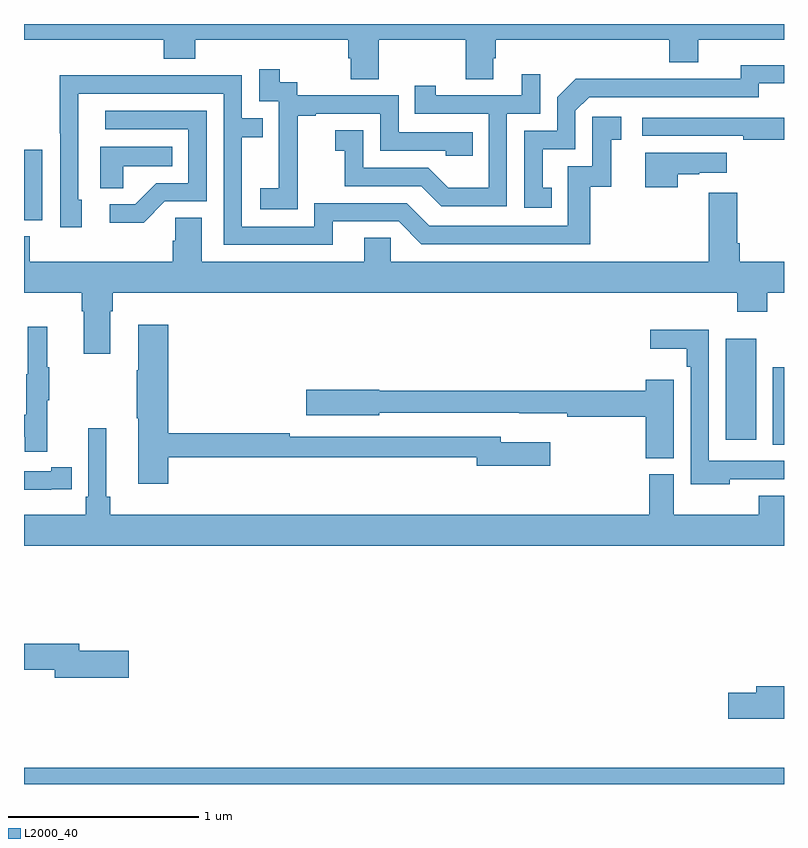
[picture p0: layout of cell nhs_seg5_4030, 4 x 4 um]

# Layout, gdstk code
import gdstk
lib = gdstk.Library(unit=1e-6, precision=1e-09)
def R(c, l, rs):  # rectangles x0, y0, x1, y1
    for r in rs: c.add(gdstk.rectangle(r[:2], r[2:], *l))
def P(c, l, *ps):  # polygons
    for p in ps: c.add(gdstk.Polygon(p, *l))
L2000_40 = (2000, 40)

nhs_seg5_4030 = lib.new_cell('nhs_seg5_4030')
R(nhs_seg5_4030, L2000_40, [(347,896.799,351,896.884), (350.942,898.585,351,898.993), (350.693,898.611,350.854,899.143)])
P(nhs_seg5_4030, L2000_40, [(348.867,900.716),(349.324,900.716),(349.324,900.508),(349.471,900.508),(349.471,900.618),(349.484,900.618),(349.484,900.716),(350.396,900.716),(350.396,900.599),(350.548,900.599),(350.548,900.716),(351,900.716),(351,900.799),(347,900.799),(347,900.716),(347.735,900.716),(347.735,900.617),(347.9,900.617),(347.9,900.716),(348.707,900.716),(348.707,900.618),(348.719,900.618),(348.719,900.508),(348.867,900.508)],
  [(349.778,899.937),(349.729,899.937),(349.729,900.141),(349.902,900.141),(349.902,900.342),(349.974,900.414),(350.868,900.414),(350.868,900.486),(351,900.486),(351,900.583),(350.772,900.583),(350.772,900.51),(350.312,900.51),(350.312,900.512),(349.904,900.512),(349.806,900.414),(349.806,900.237),(349.632,900.237),(349.632,899.832),(349.778,899.832)],
  [(348.441,900.031),(348.44,900.031),(348.44,900.315),(348.535,900.315),(348.535,900.327),(348.876,900.327),(348.876,900.132),(349.221,900.132),(349.221,900.105),(349.361,900.105),(349.361,900.228),(348.972,900.228),(348.972,900.423),(348.438,900.423),(348.438,900.492),(348.346,900.492),(348.346,900.562),(348.237,900.562),(348.237,900.393),(348.342,900.393),(348.342,900.164),(348.341,900.164),(348.341,899.935),(348.243,899.935),(348.243,899.825),(348.441,899.825)],
  [(349.542,900.327),(349.716,900.327),(349.716,900.535),(349.619,900.535),(349.619,900.423),(349.168,900.423),(349.168,900.475),(349.057,900.475),(349.057,900.327),(349.446,900.327),(349.446,899.938),(349.232,899.938),(349.128,900.042),(348.786,900.042),(348.786,900.241),(348.639,900.241),(348.639,900.131),(348.688,900.131),(348.688,899.946),(349.091,899.946),(349.196,899.841),(349.542,899.841)],
  [(348.625,899.76),(348.972,899.76),(349.092,899.64),(349.979,899.64),(349.979,899.943),(350.09,899.943),(350.09,900.189),(350.143,900.189),(350.143,900.31),(349.992,900.31),(349.992,900.051),(349.863,900.051),(349.863,899.736),(349.134,899.736),(349.014,899.856),(348.528,899.856),(348.528,899.733),(348.147,899.733),(348.147,900.202),(348.257,900.202),(348.257,900.303),(348.147,900.303),(348.147,900.528),(347.651,900.528),(347.651,900.53),(347.188,900.53),(347.188,900.223),(347.19,900.223),(347.19,899.73),(347.305,899.73),(347.305,899.874),(347.286,899.874),(347.286,900.432),(348.051,900.432),(348.051,899.637),(348.625,899.637)],
  [(347.742,899.865),(347.961,899.865),(347.961,900.342),(347.427,900.342),(347.427,900.246),(347.865,900.246),(347.865,899.961),(347.696,899.961),(347.585,899.85),(347.451,899.85),(347.451,899.753),(347.629,899.753)],
  [(351,900.306),(350.253,900.306),(350.253,900.21),(350.785,900.21),(350.785,900.19),(351,900.19)],
  [(347.523,900.05),(347.78,900.05),(347.78,900.154),(347.402,900.154),(347.402,899.935),(347.523,899.935)],
  [(347.097,900.136),(347.001,900.136),(347.001,899.862),(347,899.862),(347,899.766),(347.097,899.766)],
  [(350.441,900.007),(350.555,900.007),(350.555,900.017),(350.698,900.017),(350.698,900.121),(350.27,900.121),(350.27,899.94),(350.441,899.94)],
  [(347.455,899.288),(347.468,899.288),(347.468,899.384),(350.753,899.384),(350.753,899.285),(350.913,899.285),(350.913,899.384),(351,899.384),(351,899.548),(350.768,899.548),(350.768,899.644),(350.755,899.644),(350.755,899.911),(350.603,899.911),(350.603,899.548),(348.93,899.548),(348.93,899.675),(348.791,899.675),(348.791,899.548),(347.935,899.548),(347.935,899.78),(347.796,899.78),(347.796,899.657),(347.783,899.657),(347.783,899.548),(347.03,899.548),(347.03,899.681),(347,899.681),(347,899.384),(347.303,899.384),(347.303,899.288),(347.315,899.288),(347.315,899.064),(347.455,899.064)],
  [(347.759,898.518),(349.382,898.518),(349.382,898.475),(349.771,898.475),(349.771,898.597),(349.51,898.597),(349.51,898.626),(348.398,898.626),(348.398,898.646),(347.759,898.646),(347.759,899.215),(347.6,899.215),(347.6,898.976),(347.593,898.976),(347.593,898.723),(347.6,898.723),(347.6,898.38),(347.759,898.38)],
  [(347.123,898.819),(347.134,898.819),(347.134,898.993),(347.123,898.993),(347.123,899.206),(347.02,899.206),(347.02,898.956),(347.013,898.956),(347.013,898.742),(347,898.742),(347,898.626),(347.005,898.626),(347.005,898.548),(347.123,898.548)],
  [(350.715,898.404),(351,898.404),(351,898.5),(350.604,898.5),(350.604,899.189),(350.295,899.189),(350.295,899.09),(350.488,899.09),(350.488,898.994),(350.508,898.994),(350.508,898.376),(350.715,898.376)],
  [(350.419,898.927),(350.273,898.927),(350.273,898.868),(348.87,898.868),(348.87,898.874),(348.486,898.874),(348.486,898.739),(348.87,898.739),(348.87,898.752),(349.606,898.752),(349.606,898.751),(349.858,898.751),(349.858,898.732),(350.273,898.732),(350.273,898.513),(350.419,898.513)],
  [(351,898.315),(350.866,898.315),(350.866,898.216),(350.419,898.216),(350.419,898.428),(350.291,898.428),(350.291,898.216),(347.453,898.216),(347.453,898.312),(347.434,898.312),(347.434,898.672),(347.337,898.672),(347.337,898.312),(347.324,898.312),(347.324,898.216),(347,898.216),(347,898.052),(351,898.052)],
  [(347.144,898.35),(347.252,898.35),(347.252,898.466),(347.144,898.466),(347.144,898.446),(347,898.446),(347,898.349),(347.144,898.349)],
  [(347.551,897.5),(347.29,897.5),(347.29,897.536),(347,897.536),(347,897.4),(347.162,897.4),(347.162,897.358),(347.551,897.358)],
  [(351,897.314),(350.855,897.314),(350.855,897.278),(350.706,897.278),(350.706,897.143),(351,897.143)])

lib.write_gds('nhs_seg5_4030.gds')
